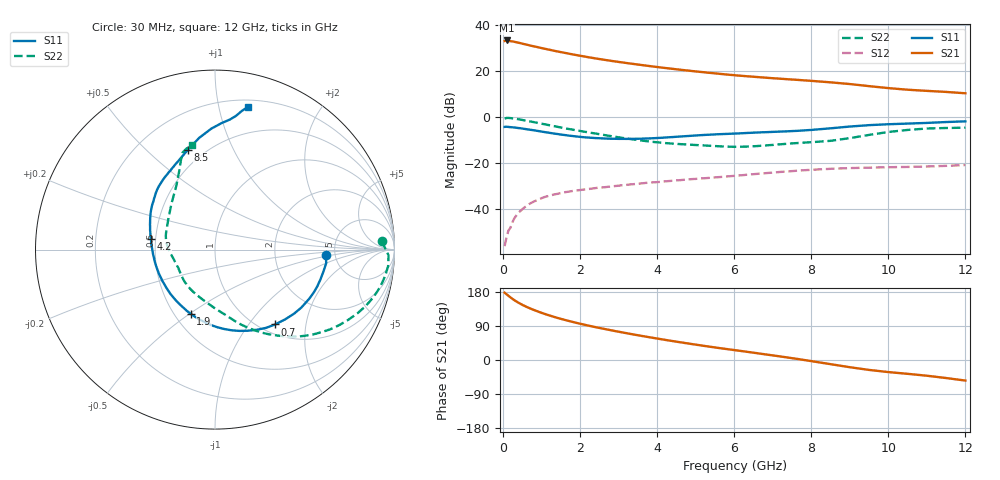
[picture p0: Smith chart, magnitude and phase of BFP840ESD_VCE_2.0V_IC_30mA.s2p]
! Infineon Technologies  Discrete & RF Semiconductors
! BFP840ESD
! VCE =  2.0 V,  IC =  30 mA
! Common Emitter S-Parameters:  May 2012
# GHz  S  MA  R  50
!  f  S11  S21  S12  S22
! GHz  MAG  ANG  MAG  ANG  MAG  ANG  MAG  ANG
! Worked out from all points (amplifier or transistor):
!   93 points, 30 MHz to 12 GHz, reference 50 ohm
!   highest |S21| = 33.3 dB at 80 MHz (marker M1)
!   |S21| within 3 dB of that: start of sweep to 913.2 MHz
!   unconditionally stable (mu >= 1): 4.318 GHz to 7.676 GHz
!   at 1.1 GHz: K = 0.50, MSG = 32.0 dB, |S12| = -34.4 dB
!   at 4.2 GHz: K = 0.99, MSG = 24.6 dB, |S12| = -27.8 dB
!   at 12 GHz: K = 0.73, MSG = 15.6 dB, |S12| = -20.7 dB
!   S11 on the Smith chart (normalised r, x): 30 MHz: 4.20, -0.38; 700 MHz: 1.16, -1.35; 1.9 GHz: 0.60, -0.51; 4.2 GHz: 0.47, +0.07; 8.5 GHz: 0.41, +0.68; 12 GHz: 0.26, +1.22
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0.03  0.6183 -2.6  45.07 177.6  0.0016 88.2  0.9311 2.8
0.08  0.6241 -7.0  46.32 173.4  0.0025 79.6  0.9675 -1.9
0.23  0.6058 -19.7  44.16 161.6  0.0052 72.3  0.9484 -11.5
0.33  0.5928 -27.2  42.45 154.8  0.0073 73.9  0.9226 -16.5
0.43  0.5794 -33.9  40.72 148.9  0.0091 71.1  0.8924 -21.0
0.5  0.5673 -38.9  39.3 145.1  0.0103 69.4  0.8703 -24.0
0.7  0.5346 -51.3  35.85 135.8  0.0136 65.1  0.81 -31.3
1  0.4876 -68.0  31.56 124.1  0.0177 59.2  0.723 -40.8
1.3  0.4453 -83.4  27.88 114.2  0.021 54.8  0.6443 -48.7
1.6  0.4107 -97.1  24.88 105.6  0.0237 50.7  0.5764 -55.6
1.9  0.3827 -110.6  22.27 97.9  0.0258 48.1  0.5196 -61.8
2.1  0.368 -118.8  20.8 93.2  0.0271 47.3  0.4863 -65.5
2.5  0.3506 -134.6  18.28 84.4  0.0298 44.9  0.4279 -72.5
2.9  0.3413 -149.2  16.27 76.3  0.0322 43.3  0.3776 -79.6
3.5  0.3423 -169.1  13.88 65.2  0.0362 40.9  0.3199 -92.0
4.1  0.3584 172.8  11.99 54.8  0.04 38.7  0.2804 -107.0
4.2  0.3631 170.2  11.72 53.1  0.0407 38.5  0.2756 -109.6
5.2  0.4125 150.4  9.478 37.4  0.0475 34.7  0.245 -134.4
6.1  0.4461 138.9  8.033 24.8  0.0544 31.7  0.2293 -155.9
8.5  0.576 105.3  5.718 -11.0  0.0762 14.1  0.3084 147.9
10.5  0.7291 83.5  3.956 -36.5  0.0837 -1.7  0.531 111.0
12  0.8152 77.0  3.313 -54.3  0.092 -9.6  0.5942 102.4
